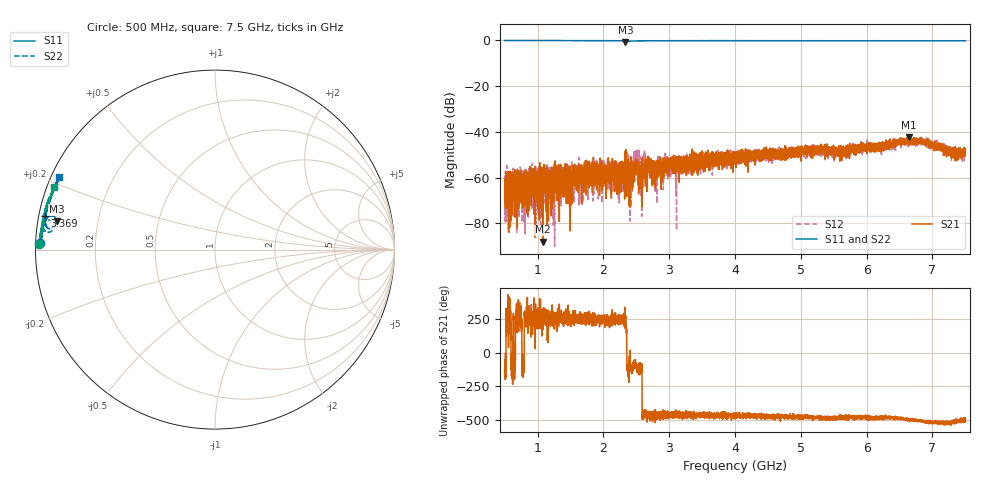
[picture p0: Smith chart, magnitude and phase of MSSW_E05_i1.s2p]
!Keysight Technologies,M9374A,MY55442783,A.12.55.05
!Date: Thursday, May 20, 2021 11:33:50
!Correction: S11(Full 2 Port(1,2))
!S21(Full 2 Port(1,2))
!S12(Full 2 Port(1,2))
!S22(Full 2 Port(1,2))
!S2P File: Measurements: S11, S21, S12, S22:
# Hz S  RI  R 50
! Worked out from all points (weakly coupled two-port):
!   7001 points, 500 MHz to 7.5 GHz, reference 50 ohm
!   highest |S21| = -42.29 dB at 6.637 GHz (marker M1); lowest = -88.0 dB at 1.082 GHz (marker M2)
!   lowest |S11| = -0.9 dB at 2.336 GHz (marker M3), VSWR 18.39, Z = 2.74 + j4.42 ohm
!   |S11| at or under -10 dB: nowhere
!   |S22| runs from -0.9 to -0.2 dB; largest |S21 - S12| = 0.0057
!   S11 on the Smith chart (normalised r, x): 500 MHz: 0.01, +0.02; 3.369 GHz: 0.02, +0.10; 7.5 GHz: 0.02, +0.22
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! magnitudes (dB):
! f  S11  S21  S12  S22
! 500 MHz  -0.2  -68.5  -59.6  -0.2
! 584 MHz  -0.2  -63.7  -64.1  -0.2
! 908 MHz  -0.3  -62.6  -61.0  -0.2
! 1.033 GHz  -0.3  -53.4  -59.3  -0.2
! 1.082 GHz  -0.3  -88.0  -59.4  -0.2
! 1.667 GHz  -0.3  -59.7  -57.4  -0.2
! 2.285 GHz  -0.4  -56.2  -56.0  -0.3
! 2.336 GHz  -0.9  -51.5  -50.6  -0.9
! 2.363 GHz  -0.8  -58.1  -50.1  -0.7
! 2.417 GHz  -0.5  -53.1  -72.8  -0.4
! 2.469 GHz  -0.4  -59.2  -53.4  -0.4
! 2.505 GHz  -0.4  -56.0  -48.4  -0.4
! 2.581 GHz  -0.4  -53.0  -60.6  -0.3
! 2.631 GHz  -0.4  -52.0  -52.1  -0.3
! 2.783 GHz  -0.4  -55.6  -58.0  -0.3
! 2.834 GHz  -0.4  -54.2  -55.5  -0.3
! 3.369 GHz  -0.3  -52.1  -55.9  -0.2
! 4 GHz  -0.3  -50.3  -52.4  -0.2
! 5.167 GHz  -0.3  -46.9  -46.7  -0.3
! 6.334 GHz  -0.4  -45.5  -45.1  -0.3
! 6.637 GHz  -0.4  -42.3  -43.5  -0.4
! 7.5 GHz  -0.4  -47.9  -50.3  -0.4
